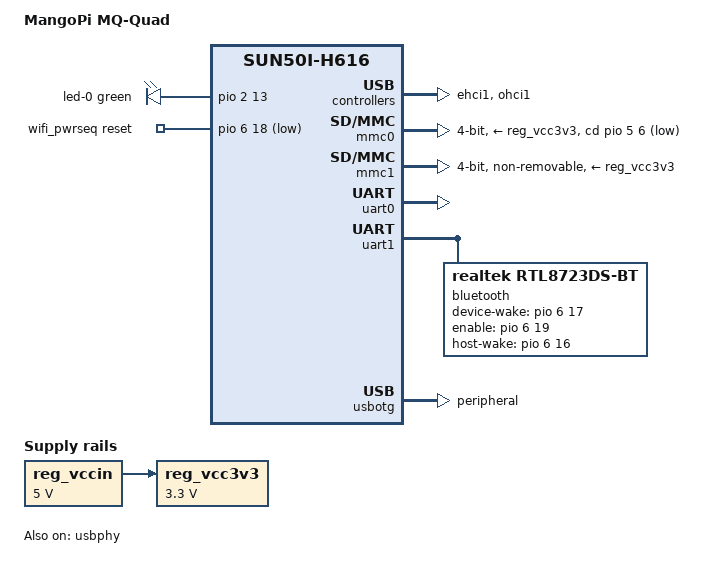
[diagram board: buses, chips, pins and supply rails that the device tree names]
// SPDX-License-Identifier: (GPL-2.0+ or MIT)
/*
 * Copyright (C) 2023 Martin Blumenstingl
 * Based on sun50i-h616-orangepi-zero2.dts:
 *   Copyright (C) 2020 Arm Ltd.
 */

/dts-v1/;

#include "sun50i-h616.dtsi"

#include <dt-bindings/gpio/gpio.h>
#include <dt-bindings/interrupt-controller/arm-gic.h>
#include <dt-bindings/leds/common.h>

/ {
	model = "MangoPi MQ-Quad";
	compatible = "widora,mangopi-mq-quad", "allwinner,sun50i-h616";

	aliases {
		serial0 = &uart0;
	};

	chosen {
		stdout-path = "serial0:115200n8";
	};

	leds {
		compatible = "gpio-leds";

		led-0 {
			function = LED_FUNCTION_STATUS;
			color = <LED_COLOR_ID_GREEN>;
			gpios = <&pio 2 13 GPIO_ACTIVE_HIGH>; /* PC13 */
		};
	};

	reg_vcc3v3: vcc3v3 {
		compatible = "regulator-fixed";
		vin-supply = <&reg_vccin>;
		regulator-name = "VCC3V3";
		regulator-min-microvolt = <3300000>;
		regulator-max-microvolt = <3300000>;
		regulator-always-on;
	};

	reg_vccin: vccin {
		/* board wide 5V supply directly from the USB-C socket or GPIO header */
		compatible = "regulator-fixed";
		regulator-name = "VCCIN";
		regulator-min-microvolt = <5000000>;
		regulator-max-microvolt = <5000000>;
		regulator-always-on;
	};

	wifi_pwrseq: wifi-pwrseq {
		compatible = "mmc-pwrseq-simple";
		reset-gpios = <&pio 6 18 GPIO_ACTIVE_LOW>; /* PG18 */
		/*
		 * TODO: CLK-FANOUT1 / X32KFOUT
		 *   clocks = <&rtc CLK_OSC32K_FANOUT>;
		 *   clock-names = "ext_clock";
		 */
	};
};

&ehci1 {
	status = "okay";
};

&mmc0 {
	vmmc-supply = <&reg_vcc3v3>;
	cd-gpios = <&pio 5 6 GPIO_ACTIVE_LOW>;	/* PF6 */
	bus-width = <4>;
	status = "okay";
};

&mmc1 {
	vmmc-supply = <&reg_vcc3v3>;
	non-removable;
	disable-wp;
	bus-width = <4>;
	mmc-pwrseq = <&wifi_pwrseq>;
	status = "okay";

	/* WiFi firmware requires power to be kept while in suspend */
	keep-power-in-suspend;
};

&ohci1 {
	status = "okay";
};

&pio {
	vcc-pc-supply = <&reg_vcc3v3>;
	vcc-pf-supply = <&reg_vcc3v3>;
	vcc-pg-supply = <&reg_vcc3v3>;
	vcc-ph-supply = <&reg_vcc3v3>;
	vcc-pi-supply = <&reg_vcc3v3>;
};

&uart0 {
	pinctrl-names = "default";
	pinctrl-0 = <&uart0_ph_pins>;
	status = "okay";
};

&uart1 {
	uart-has-rtscts;
	pinctrl-names = "default";
	pinctrl-0 = <&uart1_pins>, <&uart1_rts_cts_pins>;
	status = "okay";

	bluetooth {
		compatible = "realtek,rtl8723ds-bt";
		device-wake-gpios = <&pio 6 17 GPIO_ACTIVE_HIGH>; /* PG17 */
		enable-gpios = <&pio 6 19 GPIO_ACTIVE_HIGH>; /* PG19 */
		host-wake-gpios = <&pio 6 16 GPIO_ACTIVE_HIGH>; /* PG16 */
	};
};

&usbotg {
	/*
	 * PHY0 pins are connected to a USB-C socket, but a role switch
	 * is not implemented: both CC pins are pulled to GND.
	 * The VBUS pins power the device, so a fixed peripheral mode
	 * is the best choice.
	 * The board can be powered via GPIOs, in this case port0 *can*
	 * act as a host (with a cable/adapter ignoring CC), as VBUS is
	 * then provided by the GPIOs. Any user of this setup would
	 * need to adjust the DT accordingly: dr_mode set to "host",
	 * enabling OHCI0 and EHCI0.
	 */
	dr_mode = "peripheral";
	status = "okay";
};

&usbphy {
	usb1_vbus-supply = <&reg_vccin>;
	status = "okay";
};
